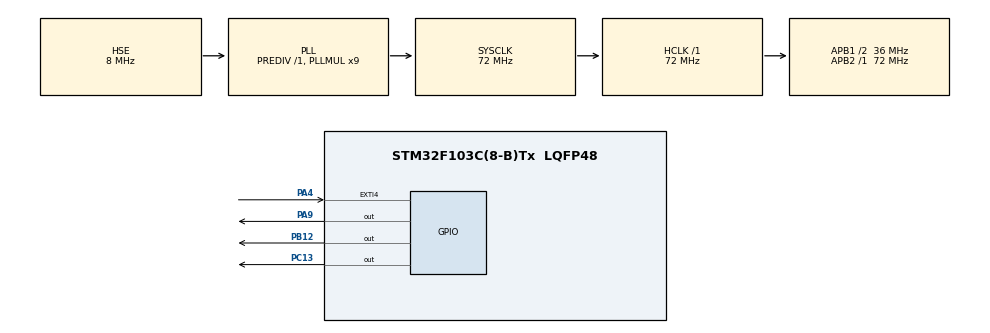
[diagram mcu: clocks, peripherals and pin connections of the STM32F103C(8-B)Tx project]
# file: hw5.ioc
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Mcu.Family=STM32F1
Mcu.Name=STM32F103C(8-B)Tx
Mcu.Package=LQFP48
NVIC.EXTI4_IRQn=true\:0\:0\:false\:false\:true\:true\:true\:true
NVIC.PriorityGroup=NVIC_PRIORITYGROUP_4
PA13.Mode=Serial_Wire
PA13.Signal=SYS_JTMS-SWDIO
PA14.Mode=Serial_Wire
PA14.Signal=SYS_JTCK-SWCLK
PA4.GPIO_ModeDefaultEXTI=GPIO_MODE_IT_RISING_FALLING
PA4.GPIO_PuPd=GPIO_PULLUP
PA4.Signal=GPXTI4
PA9.GPIO_ModeDefaultOutputPP=GPIO_MODE_OUTPUT_PP
PA9.PinState=GPIO_PIN_SET
PA9.Signal=GPIO_Output
PB12.PinState=GPIO_PIN_RESET
PB12.Signal=GPIO_Output
PC13-TAMPER-RTC.GPIO_ModeDefaultOutputPP=GPIO_MODE_OUTPUT_OD
PC13-TAMPER-RTC.GPIO_PuPd=GPIO_NOPULL
PC13-TAMPER-RTC.Signal=GPIO_Output
PD0-OSC_IN.Mode=HSE-External-Oscillator
PD0-OSC_IN.Signal=RCC_OSC_IN
PD1-OSC_OUT.Mode=HSE-External-Oscillator
PD1-OSC_OUT.Signal=RCC_OSC_OUT
ProjectManager.HeapSize=0x200
ProjectManager.StackSize=0x400
ProjectManager.TargetToolchain=CMake
RCC.AHBFreq_Value=72000000
RCC.APB1CLKDivider=RCC_HCLK_DIV2
RCC.APB1Freq_Value=36000000
RCC.APB1TimFreq_Value=72000000
RCC.APB2Freq_Value=72000000
RCC.APB2TimFreq_Value=72000000
RCC.HCLKFreq_Value=72000000
RCC.PLLMUL=RCC_PLL_MUL9
RCC.PLLSourceVirtual=RCC_PLLSOURCE_HSE
RCC.SYSCLKFreq_VALUE=72000000
RCC.SYSCLKSource=RCC_SYSCLKSOURCE_PLLCLK
RCC.USBFreq_Value=72000000
board=custom

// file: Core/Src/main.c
/* USER CODE BEGIN Header */
/**
  ******************************************************************************
  * @file           : main.c
  * @brief          : Main program body
  ******************************************************************************
  * @attention
  *
  * Copyright (c) 2026 STMicroelectronics.
  * All rights reserved.
  *
  * This software is licensed under terms that can be found in the LICENSE file
  * in the root directory of this software component.
  * If no LICENSE file comes with this software, it is provided AS-IS.
  *
  ******************************************************************************
  */
/* USER CODE END Header */
#include "main.h"
#include "gpio.h"

/* USER CODE BEGIN PV */
volatile uint32_t begin = 0,end = 0;
volatile uint8_t key = 0,key1 = 0,key2 = 0;
volatile uint32_t duration = 0;
volatile uint32_t last_time = 0;
/* USER CODE END PV */

void SystemClock_Config(void);

int main(void)
{

  /* MCU Configuration--------------------------------------------------------*/

  /* Reset of all peripherals, Initializes the Flash interface and the Systick. */
  HAL_Init();

  /* Configure the system clock */
  SystemClock_Config();

  /* Initialize all configured peripherals */
  MX_GPIO_Init();
  /* USER CODE BEGIN 2 */
  HAL_GPIO_WritePin(GPIOC, GPIO_PIN_13, GPIO_PIN_RESET);
  HAL_GPIO_WritePin(GPIOA, GPIO_PIN_9, GPIO_PIN_SET);
  /* USER CODE END 2 */

  /* Infinite loop */
  while (1)
  {

    /* USER CODE BEGIN 3 */

    if (key==1)
    {
      if (HAL_GetTick()-last_time>=20)
      {
      last_time=HAL_GetTick();
      HAL_GPIO_TogglePin(GPIOA, GPIO_PIN_9);
      }
    }
    else if (key==2)
    {
      while (1)
      {
        HAL_GPIO_TogglePin(GPIOA, GPIO_PIN_9);
        HAL_Delay(100);
        if (key1==2 && key2==2)
        {
          HAL_GPIO_WritePin(GPIOA, GPIO_PIN_9, GPIO_PIN_RESET);
          break;
        }
      }
    }
    key=0;
  }
  /* USER CODE END 3 */
}

void SystemClock_Config(void)
{
  RCC_OscInitTypeDef RCC_OscInitStruct = {0};
  RCC_ClkInitTypeDef RCC_ClkInitStruct = {0};

  /** Initializes the RCC Oscillators according to the specified parameters
  * in the RCC_OscInitTypeDef structure.
  */
  RCC_OscInitStruct.OscillatorType = RCC_OSCILLATORTYPE_HSE;
  RCC_OscInitStruct.HSEState = RCC_HSE_ON;
  RCC_OscInitStruct.HSEPredivValue = RCC_HSE_PREDIV_DIV1;
  RCC_OscInitStruct.HSIState = RCC_HSI_ON;
  RCC_OscInitStruct.PLL.PLLState = RCC_PLL_ON;
  RCC_OscInitStruct.PLL.PLLSource = RCC_PLLSOURCE_HSE;
  RCC_OscInitStruct.PLL.PLLMUL = RCC_PLL_MUL9;
  if (HAL_RCC_OscConfig(&RCC_OscInitStruct) != HAL_OK)
  {
    Error_Handler();
  }

  /** Initializes the CPU, AHB and APB buses clocks
  */
  RCC_ClkInitStruct.ClockType = RCC_CLOCKTYPE_HCLK|RCC_CLOCKTYPE_SYSCLK
                              |RCC_CLOCKTYPE_PCLK1|RCC_CLOCKTYPE_PCLK2;
  RCC_ClkInitStruct.SYSCLKSource = RCC_SYSCLKSOURCE_PLLCLK;
  RCC_ClkInitStruct.AHBCLKDivider = RCC_SYSCLK_DIV1;
  RCC_ClkInitStruct.APB1CLKDivider = RCC_HCLK_DIV2;
  RCC_ClkInitStruct.APB2CLKDivider = RCC_HCLK_DIV1;

  if (HAL_RCC_ClockConfig(&RCC_ClkInitStruct, FLASH_LATENCY_2) != HAL_OK)
  {
    Error_Handler();
  }
}

/* USER CODE BEGIN 4 */
void HAL_GPIO_EXTI_Callback(uint16_t GPIO_Pin)
{

  if (HAL_GPIO_ReadPin(GPIOA, GPIO_PIN_4) == GPIO_PIN_RESET){begin=HAL_GetTick();}
  else{
    end=HAL_GetTick();
    duration=end-begin;
    key=duration>1000?2:1;
  }
  key2=key1;
  key1=key;
}
/* USER CODE END 4 */

void Error_Handler(void)
{
  __disable_irq();
  while (1)
  {
  }
}
